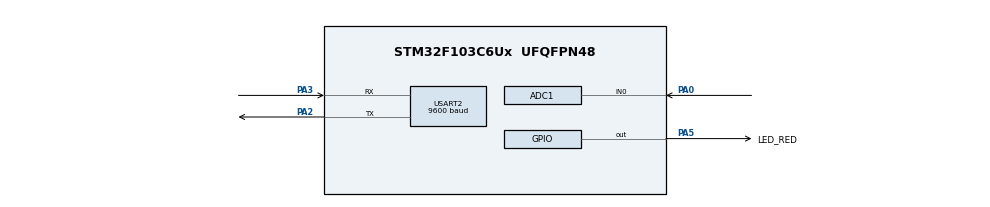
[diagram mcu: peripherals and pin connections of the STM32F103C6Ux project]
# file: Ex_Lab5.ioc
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ADC1.Channel-0\#ChannelRegularConversion=ADC_CHANNEL_0
ADC1.ContinuousConvMode=ENABLE
ADC1.NbrOfConversionFlag=1
ADC1.Rank-0\#ChannelRegularConversion=1
ADC1.SamplingTime-0\#ChannelRegularConversion=ADC_SAMPLETIME_1CYCLE_5
ADC1.master=1
Mcu.Family=STM32F1
Mcu.Name=STM32F103C6Ux
Mcu.Package=UFQFPN48
NVIC.PriorityGroup=NVIC_PRIORITYGROUP_4
NVIC.TIM2_IRQn=true\:0\:0\:false\:false\:true\:true\:true
NVIC.USART2_IRQn=true\:0\:0\:false\:false\:true\:true\:true
PA0-WKUP.Signal=ADCx_IN0
PA2.Mode=Asynchronous
PA2.Signal=USART2_TX
PA3.Mode=Asynchronous
PA3.Signal=USART2_RX
PA5.GPIO_Label=LED_RED
PA5.Signal=GPIO_Output
ProjectManager.HeapSize=0x200
ProjectManager.StackSize=0x400
ProjectManager.TargetToolchain=STM32CubeIDE
RCC.APB1Freq_Value=8000000
RCC.APB2Freq_Value=8000000
SH.ADCx_IN0.0=ADC1_IN0,IN0
TIM2.Period=9
TIM2.Prescaler=7999
USART2.BaudRate=9600
USART2.VirtualMode=VM_ASYNC
VP_SYS_VS_ND.Mode=No_Debug
VP_TIM2_VS_ClockSourceINT.Mode=Internal
board=custom

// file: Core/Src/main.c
/* USER CODE BEGIN Header */
/**
  ******************************************************************************
  * @file           : main.c
  * @brief          : Main program body
  ******************************************************************************
  * @attention
  *
  * <h2><center>&copy; Copyright (c) 2022 STMicroelectronics.
  * All rights reserved.</center></h2>
  *
  * This software component is licensed by ST under BSD 3-Clause license,
  * the "License"; You may not use this file except in compliance with the
  * License. You may obtain a copy of the License at:
  *                        opensource.org/licenses/BSD-3-Clause
  *
  ******************************************************************************
  */
/* USER CODE END Header */
#include "main.h"

/* USER CODE BEGIN Includes */
#include <stdio.h>
#include "fsm.h"
#include "timer.h"
/* USER CODE END Includes */

ADC_HandleTypeDef hadc1;

TIM_HandleTypeDef htim2;

UART_HandleTypeDef huart2;

void SystemClock_Config(void);
static void MX_GPIO_Init(void);
static void MX_ADC1_Init(void);
static void MX_USART2_UART_Init(void);
static void MX_TIM2_Init(void);

/* USER CODE BEGIN 0 */
index_buffer = 0;
char str[10];
int isCommand = 0;
int endCommand = 0;
void HAL_UART_RxCpltCallback(UART_HandleTypeDef *huart)
{
	if (huart->Instance == USART2)
	{
		//HAL_UART_Transmit(&huart2, &temp, 1, 50);

		//HAL_UART_Receive_IT(&huart2, &temp, 1);
		if (temp == '!') isCommand = 1;
		if (temp == '#') endCommand = 1;
		if (isCommand)
		{
			if (endCommand)
			{
				endCommand = 0;
				isCommand = 0;
			}
			buffer[index_buffer++] = temp;
			if (index_buffer == MAX_BUFFER_SIZE) index_buffer = 0;
			HAL_UART_Transmit(&huart2, &temp, 1, 500);
		}
		receive_flag = 1;
		HAL_UART_Receive_IT(&huart2, &temp, 1);
	}
}
/* USER CODE END 0 */

int main(void)
{

  /* MCU Configuration--------------------------------------------------------*/

  /* Reset of all peripherals, Initializes the Flash interface and the Systick. */
  HAL_Init();

  /* Configure the system clock */
  SystemClock_Config();

  /* Initialize all configured peripherals */
  MX_GPIO_Init();
  MX_ADC1_Init();
  MX_USART2_UART_Init();
  MX_TIM2_Init();
  /* USER CODE BEGIN 2 */
  HAL_UART_Receive_IT(&huart2, &temp, 1);
  HAL_TIM_Base_Start_IT(&htim2);
  /* USER CODE END 2 */

  /* Infinite loop */
  /* USER CODE BEGIN WHILE */

  char str[50];
  HAL_ADC_Start(&hadc1);
  while (1)
  {
	if (receive_flag == 1)
	{
		command_parser_fsm(&huart2);
		receive_flag = 0;
	}
	uart_communication_fsm(&huart2, &hadc1);
	/*
	  HAL_GPIO_TogglePin(LED_RED_GPIO_Port, LED_RED_Pin);
	  ADC_value = HAL_ADC_GetValue(&hadc1);
	  HAL_UART_Transmit(&huart2, (void*)str, sprintf(str, "%d\n", ADC_value), 1000);
	  HAL_Delay(500);
	  */
    /* USER CODE END WHILE */

  }
}

void SystemClock_Config(void)
{
  RCC_OscInitTypeDef RCC_OscInitStruct = {0};
  RCC_ClkInitTypeDef RCC_ClkInitStruct = {0};
  RCC_PeriphCLKInitTypeDef PeriphClkInit = {0};

  /** Initializes the RCC Oscillators according to the specified parameters
  * in the RCC_OscInitTypeDef structure.
  */
  RCC_OscInitStruct.OscillatorType = RCC_OSCILLATORTYPE_HSI;
  RCC_OscInitStruct.HSIState = RCC_HSI_ON;
  RCC_OscInitStruct.HSICalibrationValue = RCC_HSICALIBRATION_DEFAULT;
  RCC_OscInitStruct.PLL.PLLState = RCC_PLL_NONE;
  if (HAL_RCC_OscConfig(&RCC_OscInitStruct) != HAL_OK)
  {
    Error_Handler();
  }
  /** Initializes the CPU, AHB and APB buses clocks
  */
  RCC_ClkInitStruct.ClockType = RCC_CLOCKTYPE_HCLK|RCC_CLOCKTYPE_SYSCLK
                              |RCC_CLOCKTYPE_PCLK1|RCC_CLOCKTYPE_PCLK2;
  RCC_ClkInitStruct.SYSCLKSource = RCC_SYSCLKSOURCE_HSI;
  RCC_ClkInitStruct.AHBCLKDivider = RCC_SYSCLK_DIV1;
  RCC_ClkInitStruct.APB1CLKDivider = RCC_HCLK_DIV1;
  RCC_ClkInitStruct.APB2CLKDivider = RCC_HCLK_DIV1;

  if (HAL_RCC_ClockConfig(&RCC_ClkInitStruct, FLASH_LATENCY_0) != HAL_OK)
  {
    Error_Handler();
  }
  PeriphClkInit.PeriphClockSelection = RCC_PERIPHCLK_ADC;
  PeriphClkInit.AdcClockSelection = RCC_ADCPCLK2_DIV2;
  if (HAL_RCCEx_PeriphCLKConfig(&PeriphClkInit) != HAL_OK)
  {
    Error_Handler();
  }
}

static void MX_ADC1_Init(void)
{

  ADC_ChannelConfTypeDef sConfig = {0};

  /** Common config
  */
  hadc1.Instance = ADC1;
  hadc1.Init.ScanConvMode = ADC_SCAN_DISABLE;
  hadc1.Init.ContinuousConvMode = ENABLE;
  hadc1.Init.DiscontinuousConvMode = DISABLE;
  hadc1.Init.ExternalTrigConv = ADC_SOFTWARE_START;
  hadc1.Init.DataAlign = ADC_DATAALIGN_RIGHT;
  hadc1.Init.NbrOfConversion = 1;
  if (HAL_ADC_Init(&hadc1) != HAL_OK)
  {
    Error_Handler();
  }
  /** Configure Regular Channel
  */
  sConfig.Channel = ADC_CHANNEL_0;
  sConfig.Rank = ADC_REGULAR_RANK_1;
  sConfig.SamplingTime = ADC_SAMPLETIME_1CYCLE_5;
  if (HAL_ADC_ConfigChannel(&hadc1, &sConfig) != HAL_OK)
  {
    Error_Handler();
  }

}

static void MX_TIM2_Init(void)
{

  TIM_ClockConfigTypeDef sClockSourceConfig = {0};
  TIM_MasterConfigTypeDef sMasterConfig = {0};

  htim2.Instance = TIM2;
  htim2.Init.Prescaler = 7999;
  htim2.Init.CounterMode = TIM_COUNTERMODE_UP;
  htim2.Init.Period = 9;
  htim2.Init.ClockDivision = TIM_CLOCKDIVISION_DIV1;
  htim2.Init.AutoReloadPreload = TIM_AUTORELOAD_PRELOAD_DISABLE;
  if (HAL_TIM_Base_Init(&htim2) != HAL_OK)
  {
    Error_Handler();
  }
  sClockSourceConfig.ClockSource = TIM_CLOCKSOURCE_INTERNAL;
  if (HAL_TIM_ConfigClockSource(&htim2, &sClockSourceConfig) != HAL_OK)
  {
    Error_Handler();
  }
  sMasterConfig.MasterOutputTrigger = TIM_TRGO_RESET;
  sMasterConfig.MasterSlaveMode = TIM_MASTERSLAVEMODE_DISABLE;
  if (HAL_TIMEx_MasterConfigSynchronization(&htim2, &sMasterConfig) != HAL_OK)
  {
    Error_Handler();
  }

}

static void MX_USART2_UART_Init(void)
{

  huart2.Instance = USART2;
  huart2.Init.BaudRate = 9600;
  huart2.Init.WordLength = UART_WORDLENGTH_8B;
  huart2.Init.StopBits = UART_STOPBITS_1;
  huart2.Init.Parity = UART_PARITY_NONE;
  huart2.Init.Mode = UART_MODE_TX_RX;
  huart2.Init.HwFlowCtl = UART_HWCONTROL_NONE;
  huart2.Init.OverSampling = UART_OVERSAMPLING_16;
  if (HAL_UART_Init(&huart2) != HAL_OK)
  {
    Error_Handler();
  }

}

static void MX_GPIO_Init(void)
{
  GPIO_InitTypeDef GPIO_InitStruct = {0};

  /* GPIO Ports Clock Enable */
  __HAL_RCC_GPIOA_CLK_ENABLE();

  /*Configure GPIO pin Output Level */
  HAL_GPIO_WritePin(LED_RED_GPIO_Port, LED_RED_Pin, GPIO_PIN_RESET);

  /*Configure GPIO pin : LED_RED_Pin */
  GPIO_InitStruct.Pin = LED_RED_Pin;
  GPIO_InitStruct.Mode = GPIO_MODE_OUTPUT_PP;
  GPIO_InitStruct.Pull = GPIO_NOPULL;
  GPIO_InitStruct.Speed = GPIO_SPEED_FREQ_LOW;
  HAL_GPIO_Init(LED_RED_GPIO_Port, &GPIO_InitStruct);

}

/* USER CODE BEGIN 4 */
void HAL_TIM_PeriodElapsedCallback(TIM_HandleTypeDef* htim)
{
	timerRun();
}
/* USER CODE END 4 */

void Error_Handler(void)
{
  __disable_irq();
  while (1)
  {
  }
}

/************************ (C) COPYRIGHT STMicroelectronics *****END OF FILE****/
